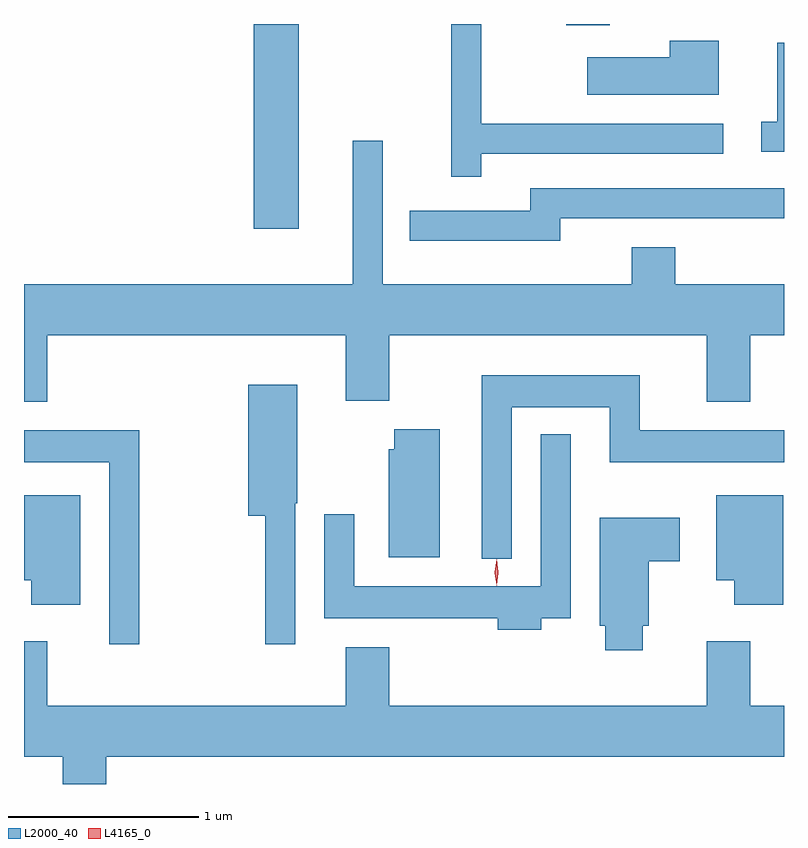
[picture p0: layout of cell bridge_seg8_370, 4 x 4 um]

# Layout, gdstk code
import gdstk
lib = gdstk.Library(unit=1e-6, precision=1e-09)
def R(c, l, rs):  # rectangles x0, y0, x1, y1
    for r in rs: c.add(gdstk.rectangle(r[:2], r[2:], *l))
def P(c, l, *ps):  # polygons
    for p in ps: c.add(gdstk.Polygon(p, *l))
L2000_40 = (2000, 40)
L4165_0 = (4165, 0)

bridge_seg8_370 = lib.new_cell('bridge_seg8_370')
R(bridge_seg8_370, L2000_40, [(685.566,1905.796,685.804,1906.873), (687.211,1906.866,687.439,1906.873)])
P(bridge_seg8_370, L2000_40, [(686.764,1906.191),(688.038,1906.191),(688.038,1906.349),(686.764,1906.349),(686.764,1906.873),(686.606,1906.873),(686.606,1906.068),(686.764,1906.068)],
  [(688.014,1906.784),(687.756,1906.784),(687.756,1906.699),(687.321,1906.699),(687.321,1906.501),(688.014,1906.501)],
  [(688.357,1906.774),(688.321,1906.774),(688.321,1906.359),(688.238,1906.359),(688.238,1906.201),(688.357,1906.201)],
  [(684.479,1905.236),(686.051,1905.236),(686.051,1904.891),(686.279,1904.891),(686.279,1905.236),(687.951,1905.236),(687.951,1904.886),(688.179,1904.886),(688.179,1905.236),(688.357,1905.236),(688.357,1905.504),(687.784,1905.504),(687.784,1905.699),(687.556,1905.699),(687.556,1905.504),(686.244,1905.504),(686.244,1906.258),(686.086,1906.258),(686.086,1905.504),(684.357,1905.504),(684.357,1904.886),(684.479,1904.886)],
  [(687.179,1905.851),(688.357,1905.851),(688.357,1906.009),(687.021,1906.009),(687.021,1905.889),(686.388,1905.889),(686.388,1905.731),(687.179,1905.731)],
  [(686.924,1904.856),(687.441,1904.856),(687.441,1904.566),(688.357,1904.566),(688.357,1904.734),(687.599,1904.734),(687.599,1905.024),(686.766,1905.024),(686.766,1904.058),(686.924,1904.058)],
  [(685.784,1904.35),(685.794,1904.35),(685.794,1904.974),(685.536,1904.974),(685.536,1904.286),(685.626,1904.286),(685.626,1903.608),(685.784,1903.608)],
  [(686.544,1904.739),(686.306,1904.739),(686.306,1904.634),(686.276,1904.634),(686.276,1904.066),(686.544,1904.066)],
  [(684.964,1904.734),(684.357,1904.734),(684.357,1904.566),(684.806,1904.566),(684.806,1903.608),(684.964,1903.608)],
  [(687.079,1903.746),(687.234,1903.746),(687.234,1904.713),(687.076,1904.713),(687.076,1903.914),(686.094,1903.914),(686.094,1904.293),(685.936,1904.293),(685.936,1903.746),(686.851,1903.746),(686.851,1903.686),(687.079,1903.686)],
  [(684.654,1904.394),(684.357,1904.394),(684.357,1903.946),(684.396,1903.946),(684.396,1903.816),(684.654,1903.816)],
  [(688.354,1904.394),(688.001,1904.394),(688.001,1903.946),(688.096,1903.946),(688.096,1903.816),(688.354,1903.816)],
  [(687.614,1903.706),(687.644,1903.706),(687.644,1904.046),(687.809,1904.046),(687.809,1904.274),(687.386,1904.274),(687.386,1903.706),(687.416,1903.706),(687.416,1903.576),(687.614,1903.576)],
  [(684.789,1903.016),(688.357,1903.016),(688.357,1903.284),(688.179,1903.284),(688.179,1903.624),(687.951,1903.624),(687.951,1903.284),(686.279,1903.284),(686.279,1903.594),(686.051,1903.594),(686.051,1903.284),(684.479,1903.284),(684.479,1903.624),(684.357,1903.624),(684.357,1903.016),(684.561,1903.016),(684.561,1902.873),(684.789,1902.873)])
P(bridge_seg8_370, L4165_0, [(686.844,1903.917),(686.844,1903.918),(686.834,1903.987),(686.844,1904.056),(686.845,1904.056),(686.845,1904.056),(686.854,1903.987),(686.844,1903.918)],
  [(686.844,1903.919),(686.844,1903.92),(686.834,1903.986),(686.844,1904.052),(686.844,1904.053),(686.844,1904.052),(686.854,1903.986),(686.844,1903.92)])

lib.write_gds('bridge_seg8_370.gds')
